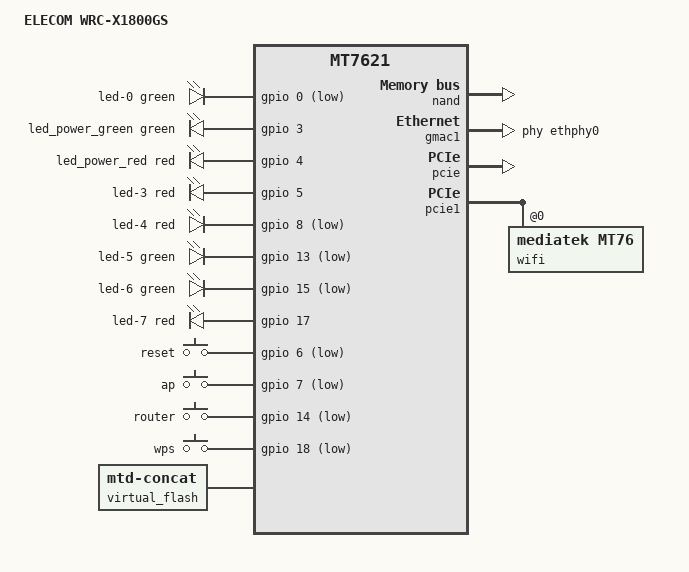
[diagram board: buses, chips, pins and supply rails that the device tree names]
// SPDX-License-Identifier: GPL-2.0-or-later OR MIT

#include "mt7621.dtsi"

#include <dt-bindings/gpio/gpio.h>
#include <dt-bindings/input/input.h>
#include <dt-bindings/leds/common.h>

/ {
	compatible = "elecom,wrc-x1800gs", "mediatek,mt7621-soc";
	model = "ELECOM WRC-X1800GS";

	aliases {
		led-boot = &led_power_green;
		led-failsafe = &led_power_red;
		led-running = &led_power_green;
		led-upgrade = &led_power_green;
		label-mac-device = &gmac0;
	};

	chosen {
		bootargs-override = "console=ttyS0,115200n8";
	};

	leds {
		compatible = "gpio-leds";

		/* available on 1st HW rev. */
		led-0 {
			gpios = <&gpio 0 GPIO_ACTIVE_LOW>;
			color = <LED_COLOR_ID_GREEN>;
			function = LED_FUNCTION_WLAN_2GHZ;
			function-enumerator = <1>;
			linux,default-trigger = "phy0tpt";
		};

		led_power_green: led-1 {
			gpios = <&gpio 3 GPIO_ACTIVE_HIGH>;
			color = <LED_COLOR_ID_GREEN>;
			function = LED_FUNCTION_POWER;
		};

		led_power_red: led-2 {
			gpios = <&gpio 4 GPIO_ACTIVE_HIGH>;
			color = <LED_COLOR_ID_RED>;
			function = LED_FUNCTION_POWER;
		};

		led-3 {
			gpios = <&gpio 5 GPIO_ACTIVE_HIGH>;
			color = <LED_COLOR_ID_RED>;
			function = LED_FUNCTION_WLAN_2GHZ;
		};

		led-4 {
			gpios = <&gpio 8 GPIO_ACTIVE_LOW>;
			color = <LED_COLOR_ID_RED>;
			function = LED_FUNCTION_WPS;
		};

		led-5 {
			gpios = <&gpio 13 GPIO_ACTIVE_LOW>;
			color = <LED_COLOR_ID_GREEN>;
			function = LED_FUNCTION_WLAN_5GHZ;
			linux,default-trigger = "phy1tpt";
		};

		/* available on 2nd HW rev. */
		led-6 {
			gpios = <&gpio 15 GPIO_ACTIVE_LOW>;
			color = <LED_COLOR_ID_GREEN>;
			function = LED_FUNCTION_WLAN_2GHZ;
			function-enumerator = <2>;
			linux,default-trigger = "phy0tpt";
		};

		led-7 {
			gpios = <&gpio 17 GPIO_ACTIVE_HIGH>;
			color = <LED_COLOR_ID_RED>;
			function = LED_FUNCTION_WLAN_5GHZ;
		};

	};

	keys {
		compatible = "gpio-keys";

		button-reset {
			label = "reset";
			gpios = <&gpio 6 GPIO_ACTIVE_LOW>;
			linux,code = <KEY_RESTART>;
		};

		switch-ap {
			label = "ap";
			gpios = <&gpio 7 GPIO_ACTIVE_LOW>;
			linux,code = <BTN_0>;
		};

		switch-router {
			label = "router";
			gpios = <&gpio 14 GPIO_ACTIVE_LOW>;
			linux,code = <BTN_1>;
		};

		button-wps {
			label = "wps";
			gpios = <&gpio 18 GPIO_ACTIVE_LOW>;
			linux,code = <KEY_WPS_BUTTON>;
		};
	};

	/* concatenated mtd device for OpenWRT kernel and UBI */
	virtual_flash {
		compatible = "mtd-concat";
		devices = <&fw1 &fw2 &fw3>;

		partitions {
			compatible = "fixed-partitions";
			#address-cells = <1>;
			#size-cells = <1>;

			partition@0 {
				label = "kernel";
				reg = <0x0 0x800000>;
			};

			partition@800000 {
				label = "ubi";
				reg = <0x800000 0x6740000>;
			};
		};
	};
};

&nand {
	status = "okay";
	pinctrl-0 = <&nand_pins>;
	pinctrl-names = "default";

	partitions {
		compatible = "fixed-partitions";
		#address-cells = <1>;
		#size-cells = <1>;

		partition@0 {
			reg = <0x0 0x100000>;
			label = "u-boot";
			read-only;
		};

		partition@100000 {
			reg = <0x100000 0x100000>;
			label = "u-boot-env";
		};

		partition@200000 {
			reg = <0x200000 0x1c0000>;
			label = "factory";
			read-only;

			nvmem-layout {
				compatible = "fixed-layout";
				#address-cells = <1>;
				#size-cells = <1>;

				eeprom_factory_0: eeprom@0 {
					reg = <0x0 0xe00>;
				};

				precal_factory_e10: precal@e10 {
					reg = <0xe10 0x19c10>;
				};

				macaddr_factory_1fdf4: macaddr@1fdf4 {
					reg = <0x1fdf4 0x6>;
				};

				macaddr_factory_1fdfa: macaddr@1fdfa {
					reg = <0x1fdfa 0x6>;
				};
			};
		};

		/* "RAS1" on stock fw */
		fw1: partition@3c0000 {
			reg = <0x3c0000 0x3240000>;
			label = "firmware_p1";
		};

		/*
			stock fw configuration for RAS1
			it's not used in openwrt, but kept for possible rollback
		 */
		partition@3600000 {
			reg = <0x3600000 0x100000>;
			label = "stock_cfg1";
		};

		/* "RAS2" on stock fw
			reduced to fit recovery image only,
			rest of the space reused for UBI in openwrt
		*/
		partition@3700000 {
			reg = <0x3700000 0xa00000>;
			label = "recovery";
		};

		/* unused space in RAS2	*/
		fw2: partition@4100000 {
			reg = <0x4100000 0x2840000>;
			label = "firmware_p2";
		};

		/*
			stock fw configuration for RAS2
			it's not used in openwrt, but kept for possible rollback
		 */
		partition@6940000 {
			reg = <0x6940000 0x100000>;
			label = "stock_cfg2";
		};

		/*	used by u-boot to keep active fw number	*/
		partition@6a40000 {
			reg = <0x6a40000 0x40000>;
			label = "persist";
		};

		/*	combined space from 'mesh' and 'backup' partitions in stock image	*/
		fw3: partition@6a80000 {
			reg = <0x6a80000 0x14c0000>;
			label = "firmware_p3";
		};
	};
};

&gmac0 {
	nvmem-cells = <&macaddr_factory_1fdfa>;
	nvmem-cell-names = "mac-address";
};

&gmac1 {
	status = "okay";
	label = "wan";
	phy-handle = <&ethphy0>;

	nvmem-cells = <&macaddr_factory_1fdf4>;
	nvmem-cell-names = "mac-address";
};

&ethphy0 {
	/delete-property/ interrupts;
};

&pcie {
	status = "okay";
};

&pcie1 {
	wifi@0,0 {
		compatible = "mediatek,mt76";
		reg = <0x0000 0 0 0 0>;
		nvmem-cells = <&eeprom_factory_0>, <&precal_factory_e10>;
		nvmem-cell-names = "eeprom", "precal";
		mediatek,disable-radar-background;
	};
};

&pcie2 {
	status = "disabled";
};

&switch0 {
	ports {
		port@1 {
			status = "okay";
			label = "lan2";
		};

		port@2 {
			status = "okay";
			label = "lan1";
		};
	};
};

&state_default {
	gpio {
		groups = "i2c", "uart3", "jtag", "wdt";
		function = "gpio";
	};
};
